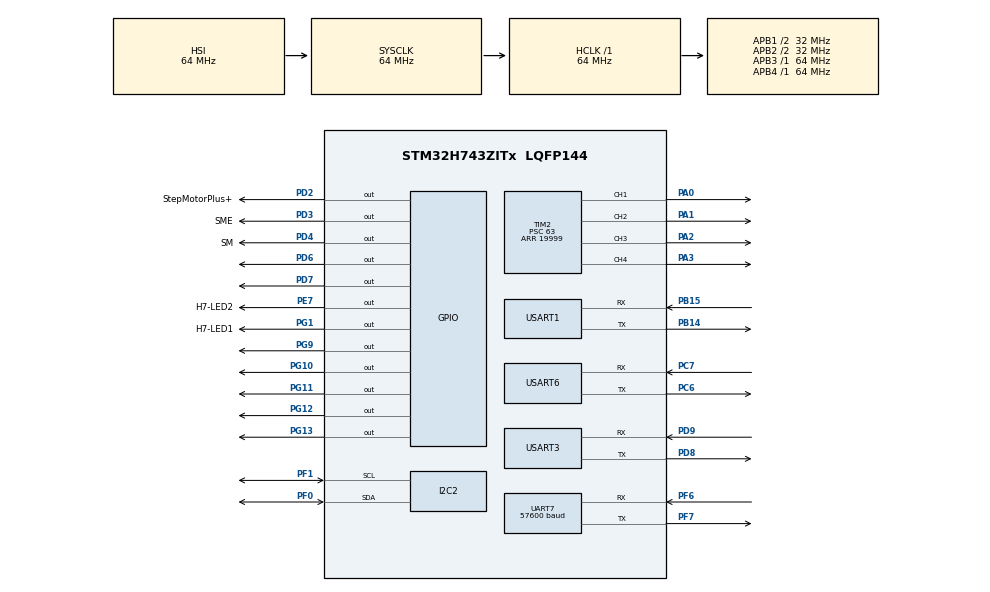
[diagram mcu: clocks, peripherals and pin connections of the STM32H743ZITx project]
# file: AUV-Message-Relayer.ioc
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Dma.Request0=USART1_RX
Dma.Request1=UART7_RX
Dma.UART7_RX.1.Direction=DMA_PERIPH_TO_MEMORY
Dma.UART7_RX.1.EventEnable=DISABLE
Dma.UART7_RX.1.FIFOMode=DMA_FIFOMODE_DISABLE
Dma.UART7_RX.1.Instance=DMA1_Stream1
Dma.UART7_RX.1.MemDataAlignment=DMA_MDATAALIGN_BYTE
Dma.UART7_RX.1.MemInc=DMA_MINC_ENABLE
Dma.UART7_RX.1.Mode=DMA_CIRCULAR
Dma.UART7_RX.1.PeriphDataAlignment=DMA_PDATAALIGN_BYTE
Dma.UART7_RX.1.PeriphInc=DMA_PINC_DISABLE
Dma.UART7_RX.1.Polarity=HAL_DMAMUX_REQ_GEN_RISING
Dma.UART7_RX.1.Priority=DMA_PRIORITY_LOW
Dma.UART7_RX.1.RequestNumber=1
Dma.UART7_RX.1.SignalID=NONE
Dma.UART7_RX.1.SyncEnable=DISABLE
Dma.UART7_RX.1.SyncPolarity=HAL_DMAMUX_SYNC_NO_EVENT
Dma.UART7_RX.1.SyncRequestNumber=1
Dma.UART7_RX.1.SyncSignalID=NONE
Dma.USART1_RX.0.Direction=DMA_PERIPH_TO_MEMORY
Dma.USART1_RX.0.EventEnable=DISABLE
Dma.USART1_RX.0.FIFOMode=DMA_FIFOMODE_DISABLE
Dma.USART1_RX.0.Instance=DMA1_Stream2
Dma.USART1_RX.0.MemDataAlignment=DMA_MDATAALIGN_BYTE
Dma.USART1_RX.0.MemInc=DMA_MINC_ENABLE
Dma.USART1_RX.0.Mode=DMA_CIRCULAR
Dma.USART1_RX.0.PeriphDataAlignment=DMA_PDATAALIGN_BYTE
Dma.USART1_RX.0.PeriphInc=DMA_PINC_DISABLE
Dma.USART1_RX.0.Polarity=HAL_DMAMUX_REQ_GEN_RISING
Dma.USART1_RX.0.Priority=DMA_PRIORITY_LOW
Dma.USART1_RX.0.RequestNumber=1
Dma.USART1_RX.0.SignalID=NONE
Dma.USART1_RX.0.SyncEnable=DISABLE
Dma.USART1_RX.0.SyncPolarity=HAL_DMAMUX_SYNC_NO_EVENT
Dma.USART1_RX.0.SyncRequestNumber=1
Dma.USART1_RX.0.SyncSignalID=NONE
FREERTOS.Tasks01=ListInfo,0,128,StartListInfoTask,Default,NULL,Dynamic,NULL,NULL
FREERTOS.configTOTAL_HEAP_SIZE=102400
FREERTOS.configUSE_STATS_FORMATTING_FUNCTIONS=1
FREERTOS.configUSE_TRACE_FACILITY=1
I2C2.Timing=0x00707CBB
Mcu.Family=STM32H7
Mcu.Name=STM32H743ZITx
Mcu.Package=LQFP144
NVIC.DMA1_Stream1_IRQn=true\:5\:0\:false\:false\:true\:true\:false\:true
NVIC.DMA1_Stream2_IRQn=true\:5\:0\:false\:false\:true\:true\:false\:true
NVIC.I2C2_EV_IRQn=true\:5\:0\:false\:false\:true\:true\:true\:true
NVIC.PriorityGroup=NVIC_PRIORITYGROUP_4
NVIC.TIM1_UP_IRQn=true\:15\:0\:false\:false\:true\:false\:false\:true
NVIC.TIM2_IRQn=true\:5\:0\:false\:false\:true\:true\:true\:true
NVIC.TIM3_IRQn=true\:5\:0\:false\:false\:true\:true\:true\:true
NVIC.TimeBase=TIM1_UP_IRQn
NVIC.TimeBaseIP=TIM1
PA0.Signal=S_TIM2_CH1
PA1.Signal=S_TIM2_CH2
PA13\ (JTMS/SWDIO).Mode=Serial_Wire
PA13\ (JTMS/SWDIO).Signal=DEBUG_JTMS-SWDIO
PA14\ (JTCK/SWCLK).Mode=Serial_Wire
PA14\ (JTCK/SWCLK).Signal=DEBUG_JTCK-SWCLK
PA2.Signal=S_TIM2_CH3
PA3.Signal=S_TIM2_CH4
PB14.Mode=Asynchronous
PB14.Signal=USART1_TX
PB15.Mode=Asynchronous
PB15.Signal=USART1_RX
PB8.GPIO_PuPd=GPIO_PULLUP
PB8.GPIO_Speed=GPIO_SPEED_FREQ_HIGH
PB8.Signal=I2C1_SCL
PC6.Mode=Asynchronous
PC6.Signal=USART6_TX
PC7.Mode=Asynchronous
PC7.Signal=USART6_RX
PD0.Signal=UART4_RX
PD2.GPIO_Label=StepMotorPlus+
PD2.GPIO_Speed=GPIO_SPEED_FREQ_VERY_HIGH
PD2.Signal=GPIO_Output
PD3.GPIO_Label=SME
PD3.Signal=GPIO_Output
PD4.GPIO_Label=SM
PD4.Signal=GPIO_Output
PD5.Signal=USART2_TX
PD6.PinState=GPIO_PIN_SET
PD6.Signal=GPIO_Output
PD7.PinState=GPIO_PIN_SET
PD7.Signal=GPIO_Output
PD8.Mode=Asynchronous
PD8.Signal=USART3_TX
PD9.Mode=Asynchronous
PD9.Signal=USART3_RX
PE7.GPIO_Label=H7-LED2
PE7.Signal=GPIO_Output
PF0.GPIO_Pu=GPIO_PULLUP
PF0.GPIO_PuPd=GPIO_PULLUP
PF0.GPIO_Speed=GPIO_SPEED_FREQ_HIGH
PF0.Mode=I2C
PF0.Signal=I2C2_SDA
PF1.GPIO_Pu=GPIO_PULLUP
PF1.GPIO_PuPd=GPIO_PULLUP
PF1.GPIO_Speed=GPIO_SPEED_FREQ_HIGH
PF1.Mode=I2C
PF1.Signal=I2C2_SCL
PF6.Mode=Asynchronous
PF6.Signal=UART7_RX
PF7.Mode=Asynchronous
PF7.Signal=UART7_TX
PG1.GPIO_Label=H7-LED1
PG1.Signal=GPIO_Output
PG10.PinState=GPIO_PIN_SET
PG10.Signal=GPIO_Output
PG11.PinState=GPIO_PIN_SET
PG11.Signal=GPIO_Output
PG12.PinState=GPIO_PIN_SET
PG12.Signal=GPIO_Output
PG13.PinState=GPIO_PIN_SET
PG13.Signal=GPIO_Output
PG9.PinState=GPIO_PIN_SET
PG9.Signal=GPIO_Output
ProjectManager.HeapSize=0x200
ProjectManager.StackSize=0x400
ProjectManager.TargetToolchain=STM32CubeIDE
RCC.ADCFreq_Value=129000000
RCC.APB1Freq_Value=32000000
RCC.APB2Freq_Value=32000000
RCC.APB3Freq_Value=64000000
RCC.APB4Freq_Value=64000000
RCC.CortexFreq_Value=64000000
RCC.D2PPRE1=RCC_APB1_DIV2
RCC.D2PPRE2=RCC_APB2_DIV2
RCC.HCLKFreq_Value=64000000
RCC.SYSCLKFreq_VALUE=64000000
RCC.USBFreq_Value=129000000
SH.S_TIM2_CH1.0=TIM2_CH1,PWM Generation1 CH1
SH.S_TIM2_CH2.0=TIM2_CH2,PWM Generation2 CH2
SH.S_TIM2_CH3.0=TIM2_CH3,PWM Generation3 CH3
SH.S_TIM2_CH4.0=TIM2_CH4,PWM Generation4 CH4
TIM2.AutoReloadPreload=TIM_AUTORELOAD_PRELOAD_ENABLE
TIM2.Channel-PWM\ Generation1\ CH1=TIM_CHANNEL_1
TIM2.Channel-PWM\ Generation2\ CH2=TIM_CHANNEL_2
TIM2.Channel-PWM\ Generation3\ CH3=TIM_CHANNEL_3
TIM2.Channel-PWM\ Generation4\ CH4=TIM_CHANNEL_4
TIM2.OC1Preload_PWM=ENABLE
TIM2.OCFastMode_PWM-PWM\ Generation1\ CH1=TIM_OCFAST_DISABLE
TIM2.OCPolarity_1=TIM_OCPOLARITY_HIGH
TIM2.OCPolarity_2=TIM_OCPOLARITY_LOW
TIM2.Period=19999
TIM2.Prescaler=63
TIM2.Pulse-PWM\ Generation1\ CH1=500
TIM2.Pulse-PWM\ Generation2\ CH2=1000
TIM2.Pulse-PWM\ Generation3\ CH3=1500
TIM2.Pulse-PWM\ Generation4\ CH4=2000
TIM3.AutoReloadPreload=TIM_AUTORELOAD_PRELOAD_ENABLE
TIM3.Period=999
TIM3.Prescaler=8
UART7.BaudRate=57600
USART1.VirtualMode-Asynchronous=VM_ASYNC
USART3.VirtualMode-Asynchronous=VM_ASYNC
USART6.VirtualMode-Asynchronous=VM_ASYNC
VP_FREERTOS_VS_CMSIS_V1.Mode=CMSIS_V1
VP_SYS_VS_tim1.Mode=TIM1
VP_TIM2_VS_ClockSourceINT.Mode=Internal
VP_TIM3_VS_ClockSourceINT.Mode=Internal
board=custom

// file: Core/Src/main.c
/* USER CODE BEGIN Header */
/**
  ******************************************************************************
  * @file           : main.c
  * @brief          : Main program body
  ******************************************************************************
  * @attention
  *
  * <h2><center>&copy; Copyright (c) 2021 STMicroelectronics.
  * All rights reserved.</center></h2>
  *
  * This software component is licensed by ST under BSD 3-Clause license,
  * the "License"; You may not use this file except in compliance with the
  * License. You may obtain a copy of the License at:
  *                        opensource.org/licenses/BSD-3-Clause
  *
  ******************************************************************************
  */
/* USER CODE END Header */
#include "main.h"
#include "cmsis_os.h"
#include "dma.h"
#include "i2c.h"
#include "tim.h"
#include "usart.h"
#include "gpio.h"

/* USER CODE BEGIN Includes */
#include "P30.h"
#include "STM32P30Device.h"
#include "ROSApi.h"
#include "std_msgs/UInt32.h"
#include "std_msgs/Float32.h"
#include "std_msgs/Int32.h"
#include "STM32BMP180Device.h"
#include "BMP180Api.h"
extern "C"{
#include "stdio.h"
#include "B30.h"
}
/* USER CODE END Includes */

/* USER CODE BEGIN PM */
uint32_t	posOfStepMotor = 0; // last time position of step motor
uint32_t	exptPosOfStepMotor = 0;
void PRCallback(const std_msgs::Float32& msg)
{
//	printf("get /D_pwm data = %f\r\n", msg.data);
	//-----
	double a;
	if(msg.data>270)
	{
		a = 270;
	}
	else if (msg.data<0)
	{
		a = 0;
	}
	else
	{
		a = msg.data;
	}
	int b;
	b = (a/270)*2000+500;
//	printf("%f\n __D_pwm__\r\n",a);
	//-----b = msg.data
	__HAL_TIM_SET_COMPARE(&htim2, TIM_CHANNEL_1, b);

}

void PropCallback(const std_msgs::Float32& msg)
{
	//-----
	double a;
	if(msg.data>4)
	{
		a = 4;
	}
	else if (msg.data<-2.6)
	{
		a = -2.6;
	}
	else
	{
		a = msg.data;
	}
	int b;
	b = (a/6.6)*1000+1000;
	printf("get P_pwm=%f output=%f \r\n",msg.data, a);
	//-----b = msg.data
	__HAL_TIM_SET_COMPARE(&htim2, TIM_CHANNEL_2, b);
}

void WECallback(const std_msgs::Float32& msg)
{

}

void StepMotorCallback(const std_msgs::Int32 &msg)
{
	exptPosOfStepMotor = msg.data;
}
/* USER CODE END PM */

/* USER CODE BEGIN PV */
ros::NodeHandle nh;
std_msgs::UInt32 var;
std_msgs::UInt32 var1;
std_msgs::UInt32 var2;
std_msgs::UInt32 var3;
std_msgs::UInt32 var4;
ros::Publisher b30Publisher("B30",&var);
ros::Publisher p30Publisher("P30",&var1);
ros::Publisher t30Publisher("T30",&var2);
ros::Publisher prePublisher("pre",&var3);
ros::Publisher temPublisher("tem",&var4);
ros::Subscriber<std_msgs::Float32>	D_pwmSubscriber("/D_pwm",PRCallback);
ros::Subscriber<std_msgs::Float32> 	P_pwmSubscriber("/P_pwm",PropCallback);
ros::Subscriber<std_msgs::Float32> 	W_pwmSubscriber("/W_pwm",WECallback);
ros::Subscriber<std_msgs::Int32> 	StepMotorSubscriber("/StepMotor",StepMotorCallback);
TaskHandle_t xHandle  = NULL;
TaskHandle_t xHandle1 = NULL;
TaskHandle_t xHandle2 = NULL;
TaskHandle_t xHandle3 = NULL;
TaskHandle_t xHandle4 = NULL;
double              b30_temperture;
int32_t             b30_pressure;
STM32P30Device      stm32P30Device;
STM32BMP180Device   stm32BMP180Device;
BMP180Api			bmp180Api{&stm32BMP180Device,0xee};
BMP180Result        bmp180Result;

P30 p30( &stm32P30Device );
extern "C"{
/* USER CODE END PV */

void SystemClock_Config(void);
void MX_FREERTOS_Init(void);
/* USER CODE BEGIN PFP */
}
void StartROSSerialTask(void const * argument);
void StartB30Task(void const * argument);
void StartP30Task(void const * argument);
void StartT30Task(void const * argument);
void StartBMP180Task(void const * argument);
void StartDJTask(void const * argument);
/* USER CODE END PFP */

int main(void)
{

  /* MCU Configuration--------------------------------------------------------*/

  /* Reset of all peripherals, Initializes the Flash interface and the Systick. */
  HAL_Init();

  /* Configure the system clock */
  SystemClock_Config();

  /* Initialize all configured peripherals */
  MX_GPIO_Init();
  MX_DMA_Init();
  MX_USART3_UART_Init();
  MX_I2C2_Init();
  MX_USART6_UART_Init();
  MX_USART1_UART_Init();
  MX_UART7_Init();
  MX_TIM2_Init();
  MX_TIM3_Init();
  /* USER CODE BEGIN 2 */
  nh.initNode();
  nh.advertise(b30Publisher);
  nh.advertise(p30Publisher);
  nh.advertise(t30Publisher);
  nh.advertise(prePublisher);
  nh.advertise(temPublisher);
  nh.subscribe(D_pwmSubscriber);
  nh.subscribe(P_pwmSubscriber);
  nh.subscribe(W_pwmSubscriber);
  nh.subscribe(StepMotorSubscriber);
#ifdef PRINT_DEBUG_INFORMATION
  printf("SYS RESTART!\n");
#endif
  xTaskCreate(	(TaskFunction_t)StartROSSerialTask,
				"ROSSerial",
				1000,
				NULL,
				5,
				&xHandle);
//  xTaskCreate(	(TaskFunction_t)StartB30Task,
//  				"B30",
//  				300,
//  				NULL,
//  				3,
//  				&xHandle1);
//  xTaskCreate(	(TaskFunction_t)StartP30Task,
//				"P30",
//				200,
//				NULL,
//				3,
//				&xHandle2);
//  xTaskCreate(	(TaskFunction_t)StartT30Task,
// 				"T30",
// 				200,
// 				NULL,
// 				4,
// 				&xHandle3);
//  xTaskCreate(	(TaskFunction_t)StartBMP180Task,
//   				"BMP180",
//   				200,
//   				NULL,
//   				3,
//   				&xHandle4);
  HAL_TIM_Base_Start_IT(&htim2);
//  HAL_TIM_Base_Start_IT(&htim3);
  HAL_TIM_PWM_Start_IT(&htim2,TIM_CHANNEL_1);
  HAL_TIM_PWM_Start_IT(&htim2,TIM_CHANNEL_2);
//  HAL_TIM_PWM_Start_IT(&htim2,TIM_CHANNEL_3);
  HAL_TIM_PWM_Start_IT(&htim2,TIM_CHANNEL_4);
  HAL_TIM_Base_Start_IT(&htim3);
  HAL_GPIO_WritePin(GPIOD, SME_Pin, GPIO_PIN_SET);
//  int i;
//  for(i=0;i<=3999;i++)
//  {
//	  __HAL_TIM_SET_COMPARE(&htim2, TIM_CHANNEL_1, i);
//  }

//  HAL_TIM_PWM_Start_IT(&htim2,TIM_CHANNEL_2);
  /* USER CODE END 2 */

  /* Call init function for freertos objects (in freertos.c) */
  MX_FREERTOS_Init();
  /* Start scheduler */
  osKernelStart();

  /* We should never get here as control is now taken by the scheduler */
  /* Infinite loop */
  while (1)
  {

  }
}

void SystemClock_Config(void)
{
  RCC_OscInitTypeDef RCC_OscInitStruct = {0};
  RCC_ClkInitTypeDef RCC_ClkInitStruct = {0};

  /** Supply configuration update enable
  */
  HAL_PWREx_ConfigSupply(PWR_LDO_SUPPLY);
  /** Configure the main internal regulator output voltage
  */
  __HAL_PWR_VOLTAGESCALING_CONFIG(PWR_REGULATOR_VOLTAGE_SCALE3);

  while(!__HAL_PWR_GET_FLAG(PWR_FLAG_VOSRDY)) {}
  /** Initializes the RCC Oscillators according to the specified parameters
  * in the RCC_OscInitTypeDef structure.
  */
  RCC_OscInitStruct.OscillatorType = RCC_OSCILLATORTYPE_HSI;
  RCC_OscInitStruct.HSIState = RCC_HSI_DIV1;
  RCC_OscInitStruct.HSICalibrationValue = RCC_HSICALIBRATION_DEFAULT;
  RCC_OscInitStruct.PLL.PLLState = RCC_PLL_NONE;
  if (HAL_RCC_OscConfig(&RCC_OscInitStruct) != HAL_OK)
  {
    Error_Handler();
  }
  /** Initializes the CPU, AHB and APB buses clocks
  */
  RCC_ClkInitStruct.ClockType = RCC_CLOCKTYPE_HCLK|RCC_CLOCKTYPE_SYSCLK
                              |RCC_CLOCKTYPE_PCLK1|RCC_CLOCKTYPE_PCLK2
                              |RCC_CLOCKTYPE_D3PCLK1|RCC_CLOCKTYPE_D1PCLK1;
  RCC_ClkInitStruct.SYSCLKSource = RCC_SYSCLKSOURCE_HSI;
  RCC_ClkInitStruct.SYSCLKDivider = RCC_SYSCLK_DIV1;
  RCC_ClkInitStruct.AHBCLKDivider = RCC_HCLK_DIV1;
  RCC_ClkInitStruct.APB3CLKDivider = RCC_APB3_DIV1;
  RCC_ClkInitStruct.APB1CLKDivider = RCC_APB1_DIV2;
  RCC_ClkInitStruct.APB2CLKDivider = RCC_APB2_DIV2;
  RCC_ClkInitStruct.APB4CLKDivider = RCC_APB4_DIV1;

  if (HAL_RCC_ClockConfig(&RCC_ClkInitStruct, FLASH_LATENCY_1) != HAL_OK)
  {
    Error_Handler();
  }
}

/* USER CODE BEGIN 4 */

void StartROSSerialTask(void const * argument)
{
	for(;;)
	{
		nh.spinOnce();
		vTaskDelay(10);
	}
}

void StartB30Task(void const * argument)
{
	uint8_t ret;
	for(;;)
	{
#ifdef PRINT_DEBUG_INFORMATION
		printf("B30 RESET!!!!\n");
#endif
		while((ret = B30_init()))
		{
#ifdef PRINT_DEBUG_INFORMATION
			printf("hi2c1.state: %d\n", hi2c2.State);
			printf("B30_init ret: %d\n", ret);
#endif
			MX_I2C2_Init();
			vTaskDelay(1000);
		}
		while(!B30_GetData(&b30_pressure, &b30_temperture))
		{
			var.data = b30_pressure;
			printf("b30 %d\n",b30_pressure);
			vTaskSuspendAll();
			b30Publisher.publish(&var);
			if(!xTaskResumeAll())
				taskYIELD();

			vTaskDelay(20);
		}
	}
}
void StartP30Task(void const * argument)
{
	ping_message *msg;
	for(;;)
	{
		while(p30.initialize(50))
		{

		}
		while(1)
		{
			msg=p30.read();
			if(msg)
			{
				p30.handleMessage(msg);
				var1.data = p30._distance;
				printf("p30_distance:%d\n",p30._distance);
				vTaskSuspendAll();
				p30Publisher.publish(&var1);
				if(!xTaskResumeAll())
					taskYIELD();
			}
			else
				vTaskDelay(50);
		}
	}
}
void StartT30Task(void const * argument)
{
	int flag = 0;
	int time = 0;
	int dtime = 0;
	for(;;)
	{
		dtime += HAL_GetTick() - time;
		time   = HAL_GetTick();
		if (dtime >= 1000)
		{
			vTaskSuspendAll();
			var2.data = flag;
			t30Publisher.publish(&var2);
			if(!xTaskResumeAll())
				taskYIELD();
#ifdef PRINT_DEBUG_INFORMATION
			printf("--------------------percent: %d\n", flag);
#endif
			flag = 0;
			dtime = 0;
		}
		else
		{
			flag ++;
		}
		vTaskDelay(10);
	}
}

void StartBMP180Task(void const * argument)
{

	for(;;)
	{
		while(bmp180Api.init())
		{
			vTaskDelay(1000);
		}
		do
		{
			bmp180Result = bmp180Api.GetTemAndPre();
			vTaskSuspendAll();
			var3.data = bmp180Result.pressure;
			var4.data = bmp180Result.temperature;
			prePublisher.publish(&var3);
			temPublisher.publish(&var4);
			if(!xTaskResumeAll())
				taskYIELD();
			vTaskDelay(500);
		}while(1);
	}
}

/* USER CODE END 4 */

void HAL_TIM_PeriodElapsedCallback(TIM_HandleTypeDef *htim)
{
  /* USER CODE BEGIN Callback 0 */
  static int8_t StepMotorOutputStatus = 0;
  /* USER CODE END Callback 0 */
  if (htim->Instance == TIM1) {
    HAL_IncTick();
  }
  /* USER CODE BEGIN Callback 1 */
  if (htim->Instance == TIM3)
  {
	  if(posOfStepMotor != exptPosOfStepMotor)
	  {
		  if (StepMotorOutputStatus)
		  {
			  HAL_GPIO_WritePin(StepMotorPlus__GPIO_Port,StepMotorPlus__Pin,(GPIO_PinState)0);
			  StepMotorOutputStatus = 0;
			  if(exptPosOfStepMotor > posOfStepMotor)
			  {
				  posOfStepMotor++;
			  }
			  else
			  {
				  posOfStepMotor--;
			  }
		  }
		  else
		  {
			  if(exptPosOfStepMotor > posOfStepMotor)
			  {
				  HAL_GPIO_WritePin(SM_GPIO_Port,SM_Pin,(GPIO_PinState)1);
			  }
			  else
			  {
				  HAL_GPIO_WritePin(SM_GPIO_Port,SM_Pin,(GPIO_PinState)0);
			  }
			  HAL_GPIO_WritePin(StepMotorPlus__GPIO_Port,StepMotorPlus__Pin,(GPIO_PinState)1);
			  StepMotorOutputStatus = 1;
		  }
	  }

  }
  /* USER CODE END Callback 1 */
}

void Error_Handler(void)
{
  /* USER CODE BEGIN Error_Handler_Debug */
  /* User can add his own implementation to report the HAL error return state */
  __disable_irq();
  while (1)
  {
	  HAL_UART_Transmit(&huart3, (uint8_t *)"Error_Handler\n", 14, 100);
  }
  /* USER CODE END Error_Handler_Debug */
}

/************************ (C) COPYRIGHT STMicroelectronics *****END OF FILE****/

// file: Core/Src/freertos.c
/* USER CODE BEGIN Header */
/**
  ******************************************************************************
  * File Name          : freertos.c
  * Description        : Code for freertos applications
  ******************************************************************************
  * @attention
  *
  * <h2><center>&copy; Copyright (c) 2021 STMicroelectronics.
  * All rights reserved.</center></h2>
  *
  * This software component is licensed by ST under Ultimate Liberty license
  * SLA0044, the "License"; You may not use this file except in compliance with
  * the License. You may obtain a copy of the License at:
  *                             www.st.com/SLA0044
  *
  ******************************************************************************
  */
/* USER CODE END Header */

#include "FreeRTOS.h"
#include "task.h"
#include "main.h"
#include "cmsis_os.h"

/* USER CODE BEGIN Includes */
#include "usart.h"
/* USER CODE END Includes */

/* USER CODE BEGIN Variables */
static uint8_t pcWriteBuffer[500];
/* USER CODE END Variables */
osThreadId ListInfoHandle;

void StartListInfoTask(void const * argument);

void MX_FREERTOS_Init(void); /* (MISRA C 2004 rule 8.1) */

/* GetIdleTaskMemory prototype (linked to static allocation support) */
void vApplicationGetIdleTaskMemory( StaticTask_t **ppxIdleTaskTCBBuffer, StackType_t **ppxIdleTaskStackBuffer, uint32_t *pulIdleTaskStackSize );

/* USER CODE BEGIN GET_IDLE_TASK_MEMORY */
static StaticTask_t xIdleTaskTCBBuffer;
static StackType_t xIdleStack[configMINIMAL_STACK_SIZE];

void vApplicationGetIdleTaskMemory( StaticTask_t **ppxIdleTaskTCBBuffer, StackType_t **ppxIdleTaskStackBuffer, uint32_t *pulIdleTaskStackSize )
{
  *ppxIdleTaskTCBBuffer = &xIdleTaskTCBBuffer;
  *ppxIdleTaskStackBuffer = &xIdleStack[0];
  *pulIdleTaskStackSize = configMINIMAL_STACK_SIZE;
  /* place for user code */
}
/* USER CODE END GET_IDLE_TASK_MEMORY */

void MX_FREERTOS_Init(void) {

  /* Create the thread(s) */
  /* definition and creation of ListInfo */
  osThreadDef(ListInfo, StartListInfoTask, osPriorityNormal, 0, 128);
  ListInfoHandle = osThreadCreate(osThread(ListInfo), NULL);

}

void StartListInfoTask(void const * argument)
{
  /* USER CODE BEGIN StartListInfoTask */
  /* Infinite loop */
  for(;;)
  {
	  vTaskList((char *)&pcWriteBuffer);
	  for(int i=0;pcWriteBuffer[i];i++)
//		  ;
		  HAL_UART_Transmit(&huart3, pcWriteBuffer+i, 1, 5);
	  vTaskDelay(4000);
  }
  /* USER CODE END StartListInfoTask */
}

/************************ (C) COPYRIGHT STMicroelectronics *****END OF FILE****/
